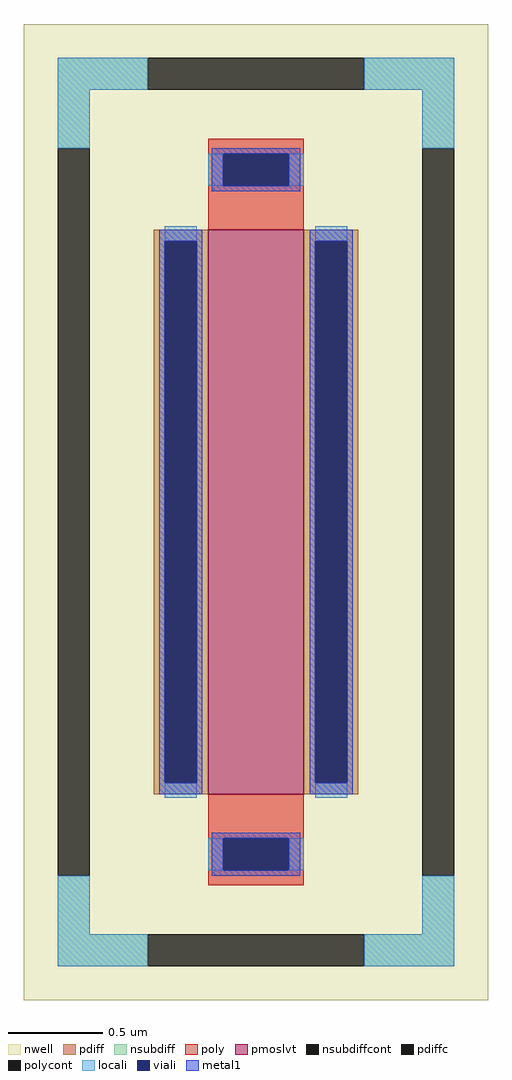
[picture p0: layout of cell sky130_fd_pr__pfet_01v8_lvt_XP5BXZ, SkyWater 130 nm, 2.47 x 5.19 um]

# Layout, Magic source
magic
tech sky130A
magscale 1 2
<< nwell >>
rect -247 -519 247 519
<< pmoslvt >>
rect -51 -300 51 300
<< pdiff >>
rect -109 288 -51 300
rect -109 -288 -97 288
rect -63 -288 -51 288
rect -109 -300 -51 -288
rect 51 288 109 300
rect 51 -288 63 288
rect 97 -288 109 288
rect 51 -300 109 -288
<< pdiffc >>
rect -97 -288 -63 288
rect 63 -288 97 288
<< nsubdiff >>
rect -211 449 -115 483
rect 115 449 211 483
rect -211 387 -177 449
rect 177 387 211 449
rect -211 -449 -177 -387
rect 177 -449 211 -387
rect -211 -483 -115 -449
rect 115 -483 211 -449
<< nsubdiffcont >>
rect -115 449 115 483
rect -211 -387 -177 387
rect 177 -387 211 387
rect -115 -483 115 -449
<< poly >>
rect -51 381 51 397
rect -51 347 -35 381
rect 35 347 51 381
rect -51 300 51 347
rect -51 -347 51 -300
rect -51 -381 -35 -347
rect 35 -381 51 -347
rect -51 -397 51 -381
<< polycont >>
rect -35 347 35 381
rect -35 -381 35 -347
<< locali >>
rect -211 449 -115 483
rect 115 449 211 483
rect -211 387 -177 449
rect 177 387 211 449
rect -51 347 -35 381
rect 35 347 51 381
rect -97 288 -63 304
rect -97 -304 -63 -288
rect 63 288 97 304
rect 63 -304 97 -288
rect -51 -381 -35 -347
rect 35 -381 51 -347
rect -211 -449 -177 -387
rect 177 -449 211 -387
rect -211 -483 -115 -449
rect 115 -483 211 -449
<< viali >>
rect -35 347 35 381
rect -97 -288 -63 288
rect 63 -288 97 288
rect -35 -381 35 -347
<< metal1 >>
rect -47 381 47 387
rect -47 347 -35 381
rect 35 347 47 381
rect -47 341 47 347
rect -103 288 -57 300
rect -103 -288 -97 288
rect -63 -288 -57 288
rect -103 -300 -57 -288
rect 57 288 103 300
rect 57 -288 63 288
rect 97 -288 103 288
rect 57 -300 103 -288
rect -47 -347 47 -341
rect -47 -381 -35 -347
rect 35 -381 47 -347
rect -47 -387 47 -381
<< properties >>
string FIXED_BBOX -194 -466 194 466
string gencell sky130_fd_pr__pfet_01v8_lvt
string library sky130
string parameters w 3.0 l 0.505 m 1 nf 1 diffcov 100 polycov 100 guard 1 glc 1 grc 1 gtc 1 gbc 1 tbcov 100 rlcov 100 topc 1 botc 1 poverlap 0 doverlap 1 lmin 0.35 wmin 0.42 compatible {sky130_fd_pr__pfet_01v8  sky130_fd_pr__pfet_01v8_lvt sky130_fd_pr__pfet_01v8_hvt  sky130_fd_pr__pfet_g5v0d10v5} full_metal 1 viasrc 100 viadrn 100 viagate 100 viagb 0 viagr 0 viagl 0 viagt 0
<< end >>
